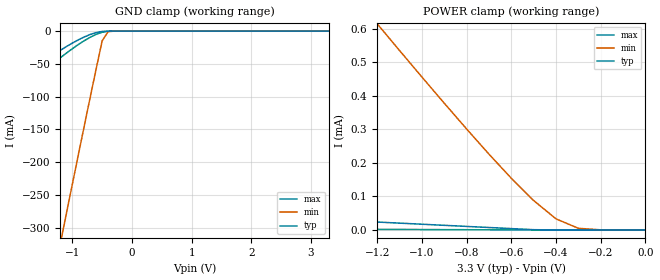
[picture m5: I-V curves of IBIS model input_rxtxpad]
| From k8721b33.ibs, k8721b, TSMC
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|   Model input_rxtxpad
[Model]   input_rxtxpad
Model_type   Input
Polarity   Non-Inverting
Vinl =   0.8V
Vinh =   2.0V
C_comp   2.28e-12F   2.07e-12F   2.15e-12F
[Temperature Range]   25   125   0
[Voltage Range]   3.30V   3.00V   3.60V
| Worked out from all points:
|   GND clamp passes 1 mA (typ) near -0.53 V on its own axis
[POWER_clamp]
| voltage   I(typ)   I(min)   I(max)
-3.3V     92.08uA    2.334mA    6.85uA
-1.2V     23.64uA    614.8uA    1.746uA
-1.1V     20.38uA    535.1uA    1.505uA
-800mV    10.61uA    301.2uA    781.3nA
-600mV    4.095uA    154.2uA    299.2nA
-500mV    837.5nA    87.72uA    58.26nA
-400mV    18.21nA    33.13uA    2.223nA
-300mV    783.5pA    4.97uA     1.281nA
-200mV    407.3pA    332.3nA    1.151nA
0V        366.4pA    15.27nA    971.6pA
[GND_clamp]
| voltage   I(typ)   I(min)   I(max)
-3.3V     -148.7mA   -1.277A    -176.7mA
-2.9V     -129.1mA   -1.096A    -155.4mA
-2.4V     -101.7mA   -869.1mA   -125mA
-1.9V     -71.69mA   -641.3mA   -90.97mA
-1.2V     -29.22mA   -323.3mA   -40.54mA
-1.1V     -23.62mA   -278.3mA   -33.58mA
-800mV    -8.926mA   -144.5mA   -14.64mA
-600mV    -2.187mA   -57.3mA    -4.967mA
-500mV    -505.5uA   -14.78mA   -1.765mA
-400mV    -50.13uA   -906.3uA   -273.2uA
3.3V      366.5pA    4.97uA     801.1pA
